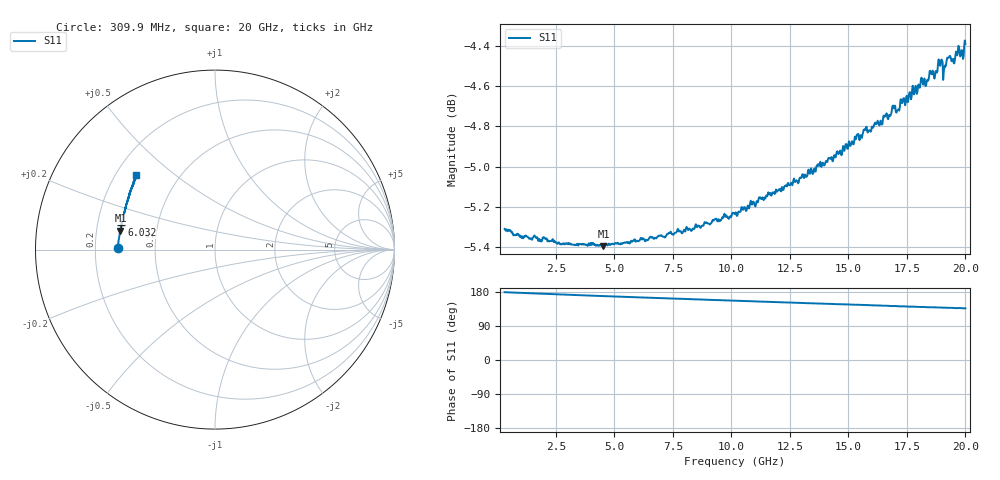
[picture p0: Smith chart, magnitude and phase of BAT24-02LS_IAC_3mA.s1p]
! Infineon Technologies  Discrete & RF Semiconductors
! BAT24-02LS
! IAC = 3 mA
! One-Port S-Parameters
# Hz  S  MA  R  50
!f  S11
!Hz  Mag  Ang
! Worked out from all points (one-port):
!   789 points, 309.9 MHz to 20 GHz, reference 50 ohm
!   lowest |S11| = -5.4 dB at 4.533 GHz (marker M1), VSWR 3.32, Z = 15.2 + j4.49 ohm
!   |S11| at or under -10 dB: nowhere
!   S11 on the Smith chart (normalised r, x): 309.9 MHz: 0.30, +0.01; 6.032 GHz: 0.30, +0.12; 20 GHz: 0.28, +0.37
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3.0985e8  0.5427 178.9
2.783612e9  0.5382 172.8
4.532738e9  0.5374 168.7
5.232388e9  0.5381 167.1
6.031988e9  0.5389 165.3
7.70615e9  0.5427 161.7
1.015492e10  0.5473 156.5
1.262869e10  0.5571 151.3
1.507746e10  0.569 146.5
1.670165e10  0.5778 142.9
1.687656e10  0.582 142.4
1.70015e10  0.5822 142.4
1.715142e10  0.581 141.8
1.732634e10  0.584 141.4
1.755122e10  0.5835 141.0
1.82009e10  0.5894 139.8
1.837581e10  0.591 139.4
1.855072e10  0.5929 139.2
1.875062e10  0.594 138.8
1.895052e10  0.597 138.5
1.912544e10  0.5958 138.1
1.932534e10  0.5991 137.7
1.942529e10  0.5973 137.6
1.962519e10  0.6003 137.1
1.967516e10  0.6004 136.8
1.982509e10  0.6008 136.7
1.987506e10  0.5995 136.8
2e10  0.6033 136.5
